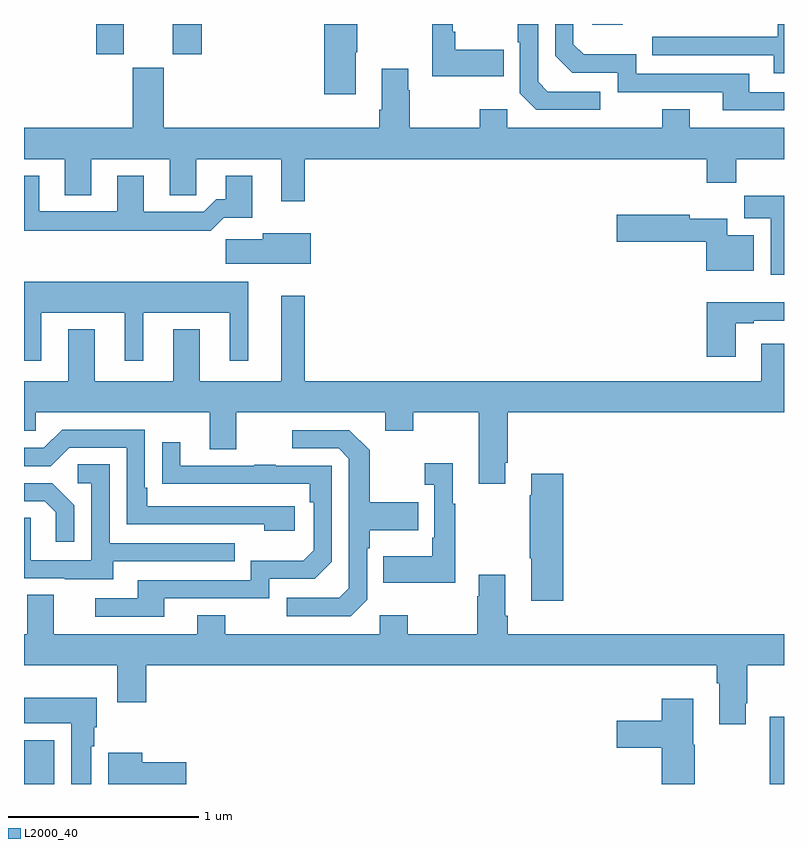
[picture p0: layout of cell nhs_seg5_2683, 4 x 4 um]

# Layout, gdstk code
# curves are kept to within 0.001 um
import gdstk
lib = gdstk.Library(unit=1e-6, precision=1e-09)
def R(c, l, rs):  # rectangles x0, y0, x1, y1
    for r in rs: c.add(gdstk.rectangle(r[:2], r[2:], *l))
def P(c, l, *ps):  # polygons
    for p in ps: c.add(gdstk.Polygon(p, *l))
L2000_40 = (2000, 40)

nhs_seg5_2683 = lib.new_cell('nhs_seg5_2683')
R(nhs_seg5_2683, L2000_40, [(267,858.799,267.16,859.03), (270.924,858.799,271,859.153), (267.379,862.641,267.526,862.799), (267.782,862.641,267.935,862.799), (269.991,862.796,270.152,862.799)])
P(nhs_seg5_2683, L2000_40, [(271,862.799),(270.966,862.799),(270.966,862.731),(270.307,862.731),(270.307,862.635),(270.947,862.635),(270.947,862.541),(271,862.541)],
  [(270.034,862.443),(269.757,862.443),(269.706,862.494),(269.706,862.799),(269.598,862.799),(269.598,862.703),(269.61,862.703),(269.61,862.434),(269.697,862.347),(270.034,862.347)],
  [(269.525,862.663),(269.269,862.663),(269.269,862.759),(269.256,862.759),(269.256,862.799),(269.148,862.799),(269.148,862.523),(269.525,862.523)],
  [(268.747,862.651),(268.755,862.651),(268.755,862.799),(268.58,862.799),(268.58,862.428),(268.747,862.428)],
  [(271,862.44),(270.817,862.44),(270.817,862.536),(270.222,862.536),(270.222,862.639),(269.945,862.639),(269.892,862.692),(269.892,862.799),(269.796,862.799),(269.796,862.632),(269.886,862.542),(270.126,862.542),(270.126,862.44),(270.677,862.44),(270.677,862.344),(271,862.344)],
  [(268.477,862.088),(270.593,862.088),(270.593,861.964),(270.749,861.964),(270.749,862.088),(271,862.088),(271,862.252),(270.505,862.252),(270.505,862.351),(270.358,862.351),(270.358,862.252),(269.544,862.252),(269.544,862.351),(269.398,862.351),(269.398,862.252),(269.031,862.252),(269.031,862.451),(269.023,862.451),(269.023,862.564),(268.883,862.564),(268.883,862.348),(268.871,862.348),(268.871,862.252),(267.736,862.252),(267.736,862.569),(267.572,862.569),(267.572,862.252),(267,862.252),(267,862.088),(267.215,862.088),(267.215,861.898),(267.355,861.898),(267.355,862.088),(267.767,862.088),(267.767,861.898),(267.906,861.898),(267.906,862.088),(268.355,862.088),(268.355,861.867),(268.477,861.867)],
  [(268.052,861.779),(268.201,861.779),(268.201,862),(268.061,862),(268.061,861.877),(268.012,861.877),(267.945,861.81),(267.631,861.81),(267.631,862),(267.491,862),(267.491,861.813),(267.079,861.813),(267.079,862),(267,862),(267,861.712),(267.727,861.712),(267.727,861.71),(267.983,861.71)],
  [(271,861.895),(270.79,861.895),(270.79,861.776),(270.929,861.776),(270.929,861.48),(271,861.48)],
  [(270.841,861.688),(270.7,861.688),(270.7,861.775),(270.504,861.775),(270.504,861.795),(270.12,861.795),(270.12,861.653),(270.59,861.653),(270.59,861.5),(270.841,861.5)],
  [(268.51,861.697),(268.256,861.697),(268.256,861.665),(268.062,861.665),(268.062,861.536),(268.51,861.536)],
  [(267.091,861.278),(267.53,861.278),(267.53,861.027),(267.628,861.027),(267.628,861.278),(268.082,861.278),(268.082,861.027),(268.18,861.027),(268.18,861.442),(267,861.442),(267,861.027),(267.091,861.027)],
  [(269.533,860.491),(269.546,860.491),(269.546,860.756),(271,860.756),(271,861.115),(270.881,861.115),(270.881,860.92),(268.477,860.92),(268.477,861.37),(268.355,861.37),(268.355,860.92),(267.925,860.92),(267.925,861.193),(267.785,861.193),(267.785,860.92),(267.373,860.92),(267.373,861.193),(267.233,861.193),(267.233,860.92),(267,860.92),(267,860.658),(267.063,860.658),(267.063,860.756),(267.977,860.756),(267.977,860.562),(268.117,860.562),(268.117,860.756),(268.901,860.756),(268.901,860.657),(269.049,860.657),(269.049,860.756),(269.393,860.756),(269.393,860.379),(269.533,860.379)],
  [(270.745,861.225),(270.841,861.225),(270.841,861.237),(271,861.237),(271,861.334),(270.593,861.334),(270.593,861.048),(270.745,861.048)],
  [(268.426,860.262),(267.649,860.262),(267.649,860.359),(267.636,860.359),(267.636,860.664),(267.201,860.664),(267.105,860.568),(267,860.568),(267,860.472),(267.141,860.472),(267.237,860.568),(267.54,860.568),(267.54,860.166),(268.265,860.166),(268.265,860.132),(268.426,860.132)],
  [(268.806,859.77),(268.806,860.039),(268.819,860.039),(268.819,860.135),(269.075,860.135),(269.075,860.283),(268.819,860.283),(268.819,860.555),(268.713,860.661),(268.413,860.661),(268.413,860.565),(268.656,860.565),(268.71,860.511),(268.71,859.83),(268.659,859.779),(268.383,859.779),(268.383,859.683),(268.719,859.683)],
  [(267.739,859.776),(268.29,859.776),(268.29,859.878),(268.53,859.878),(268.62,859.968),(268.62,860.475),(268.325,860.475),(268.325,860.48),(268.213,860.48),(268.213,860.475),(267.823,860.475),(267.823,860.599),(267.727,860.599),(267.727,860.38),(268.504,860.379),(268.504,860.282),(268.524,860.282),(268.524,860.028),(268.471,859.975),(268.194,859.975),(268.194,859.872),(267.599,859.872),(267.599,859.776),(267.375,859.776),(267.375,859.68),(267.739,859.68)],
  [(269.269,860.275),(269.257,860.275),(269.257,860.488),(269.109,860.488),(269.109,860.375),(269.16,860.375),(269.16,860.095),(269.148,860.095),(269.148,859.999),(268.891,859.999),(268.891,859.859),(269.269,859.859)],
  [(267.469,859.971),(268.109,859.971),(268.109,860.067),(267.45,860.067),(267.45,860.483),(267.282,860.483),(267.282,860.382),(267.354,860.382),(267.354,859.977),(267.036,859.977),(267.036,860.201),(267,860.201),(267,859.881),(267.215,859.881),(267.215,859.877),(267.469,859.877)],
  [(269.837,860.431),(269.669,860.431),(269.669,860.318),(269.662,860.318),(269.662,859.987),(269.669,859.987),(269.669,859.764),(269.837,859.764)],
  [(267.264,860.266),(267.148,860.382),(267,860.382),(267,860.286),(267.11,860.286),(267.167,860.229),(267.167,860.073),(267.264,860.073)],
  [(270.799,859.225),(270.807,859.225),(270.807,859.424),(271,859.424),(271,859.588),(269.546,859.588),(269.546,859.684),(269.533,859.684),(269.533,859.9),(269.393,859.9),(269.393,859.787),(269.386,859.787),(269.386,859.588),(269.019,859.588),(269.019,859.687),(268.872,859.687),(268.872,859.588),(268.059,859.588),(268.059,859.687),(267.911,859.687),(267.911,859.588),(267.157,859.588),(267.157,859.796),(267.017,859.796),(267.017,859.588),(267,859.588),(267,859.424),(267.491,859.424),(267.491,859.23),(267.644,859.23),(267.644,859.424),(270.647,859.424),(270.647,859.328),(270.659,859.328),(270.659,859.113),(270.799,859.113)],
  [(267.355,858.998),(267.37,858.998),(267.37,859.098),(267.382,859.098),(267.382,859.252),(267,859.252),(267,859.118),(267.248,859.118),(267.248,858.799),(267.355,858.799)],
  [(270.531,859.005),(270.523,859.005),(270.523,859.249),(270.356,859.249),(270.356,859.131),(270.12,859.131),(270.12,858.989),(270.356,858.989),(270.356,858.799),(270.531,858.799)],
  [(267.853,858.914),(267.622,858.914),(267.622,858.964),(267.443,858.964),(267.443,858.799),(267.853,858.799)])

lib.write_gds('nhs_seg5_2683.gds')
